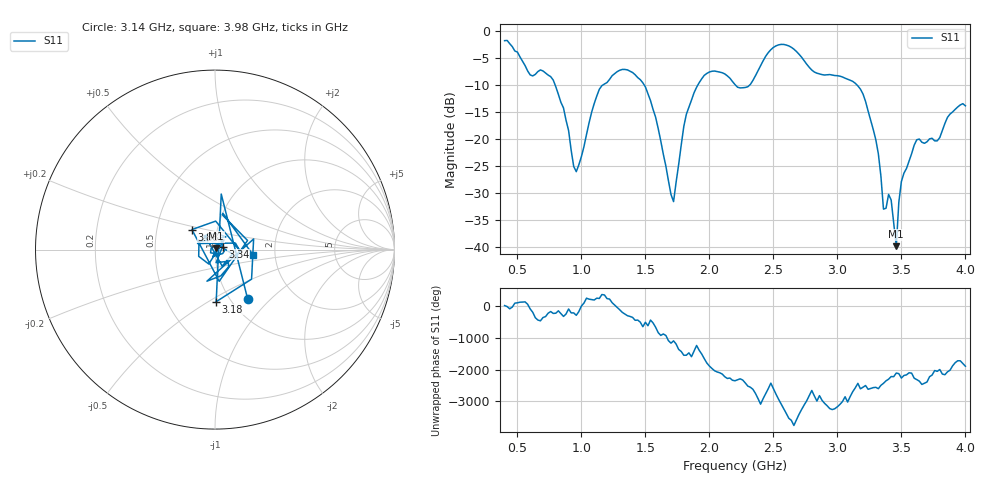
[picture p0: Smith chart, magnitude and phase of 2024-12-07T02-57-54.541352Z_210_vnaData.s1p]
!Created with skrf (http://scikit-rf.org).
# Hz S RI R 50.0
!freq ReS11 ImS11
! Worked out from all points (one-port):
!   181 points, 400 MHz to 4 GHz, reference 50 ohm
!   lowest |S11| = -39.9 dB at 3.46 GHz (marker M1), VSWR 1.02, Z = 50.7 + j0.775 ohm
!   |S11| at or under -10 dB: 795.3 MHz to 1.166 GHz (370.6 MHz wide, 37.8 % of centre); 1.491 GHz to 1.909 GHz (417.7 MHz wide, 24.6 % of centre); 3.155 GHz to end of sweep (the widest 3 of 4)
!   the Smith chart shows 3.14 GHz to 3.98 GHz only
!   S11 on the Smith chart (normalised r, x): 3.14 GHz: 1.20, -0.74; 3.18 GHz: 0.85, -0.54; 3.34 GHz: 1.09, +0.04; 3.88 GHz: 0.75, +0.17; 3.98 GHz: 1.53, -0.09
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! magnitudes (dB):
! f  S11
! 400 MHz  -1.7
! 600 MHz  -8.1
! 760 MHz  -8.4
! 860 MHz  -14.2
! 960 MHz  -26.1
! 1.14 GHz  -10.8
! 1.3 GHz  -7.2
! 1.5 GHz  -10.3
! 1.72 GHz  -31.7
! 1.76 GHz  -24.7
! 1.82 GHz  -15.4
! 1.94 GHz  -8.8
! 2.2 GHz  -9.9
! 2.52 GHz  -2.7
! 2.66 GHz  -3.3
! 3.1 GHz  -9.1
! 3.14 GHz  -9.7
! 3.18 GHz  -10.7
! 3.3 GHz  -20.1
! 3.34 GHz  -26.9
! 3.36 GHz  -33.1
! 3.42 GHz  -31.3
! 3.46 GHz  -39.9
! 3.5 GHz  -27.9
! 3.56 GHz  -24.1
! 3.88 GHz  -15.4
! 3.98 GHz  -13.4
! 4 GHz  -13.8
